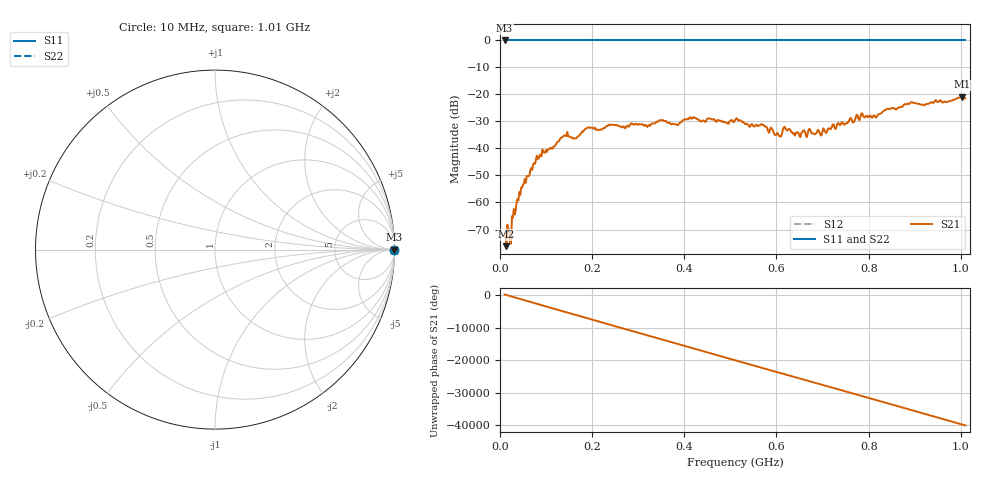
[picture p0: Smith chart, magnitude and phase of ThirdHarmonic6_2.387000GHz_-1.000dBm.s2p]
! 8/17/2025 3:50:48 AM
! C:\ANRITSUVNA\TEMP\TEMP.S2P
! CHANNEL.1
! TR.MEASUREMENT
! RAW.DATA
! RF.CORRECTION.OFF
! AVERAGING.OFF
! IF.BANDWIDTH: 5KHZ
! SWEEPTYPE:  FREQ.SWEEP(Linear)
! Reference Plane Port Info
! PORT:  PORT1  PORT2
! DISTANCE:  0  m  0  m
! TIME:  0  s  0  s
! PHASE.OFFSET:  0  deg.  0  deg.
! LOSS:  0  dB  0  dB
! REF.LOSS:  0  dB  0  dB
! REF.FREQ:  0  Hz  0  Hz
! Power Info
! POWER:  -20  dBm  -20  dBm
! EFF.POWER:  -20  dBm  -20  dBm
! SOURCE.ATTEN:  0  dB  0  dB
! TEST.ATTEN:  0  dB  0  dB
# GHZ S RI R 50.0
! FREQ.GHZ  S11RE  S11IM  S21RE  S21IM  S12RE  S12IM  S22RE  S22IM
!; PortSelection: Port_12
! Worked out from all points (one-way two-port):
!   501 points, 10 MHz to 1.01 GHz, reference 50 ohm
!   highest |S21| = -20.81 dB at 1.002 GHz (marker M1); lowest = -76.2 dB at 14 MHz (marker M2)
!   lowest |S11| = 0.0 dB at 10 MHz (marker M3)
!   |S11| at or under -10 dB: nowhere
!   |S22| runs from 0.0 to 0.0 dB; largest |S21 - S12| = 1.1
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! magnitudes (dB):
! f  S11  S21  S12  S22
! 10 MHz  0.0  -72.4  0.0  0.0
! 14 MHz  0.0  -76.2  0.0  0.0
! 22 MHz  0.0  -75.1  0.0  0.0
! 30 MHz  0.0  -62.4  0.0  0.0
! 46 MHz  0.0  -54.4  0.0  0.0
! 76 MHz  0.0  -45.7  0.0  0.0
! 136 MHz  0.0  -35.8  0.0  0.0
! 162 MHz  0.0  -36.3  0.0  0.0
! 178 MHz  0.0  -33.7  0.0  0.0
! 192 MHz  0.0  -32.2  0.0  0.0
! 344 MHz  0.0  -30.0  0.0  0.0
! 382 MHz  0.0  -31.1  0.0  0.0
! 416 MHz  0.0  -29.0  0.0  0.0
! 510 MHz  0.0  -29.6  0.0  0.0
! 570 MHz  0.0  -31.3  0.0  0.0
! 608 MHz  0.0  -35.6  0.0  0.0
! 618 MHz  0.0  -32.0  0.0  0.0
! 638 MHz  0.0  -34.2  0.0  0.0
! 678 MHz  0.0  -34.4  0.0  0.0
! 844 MHz  0.0  -25.4  0.0  0.0
! 1.002 GHz  0.0  -20.8  0.0  0.0
! 1.01 GHz  0.0  -21.5  0.0  0.0
